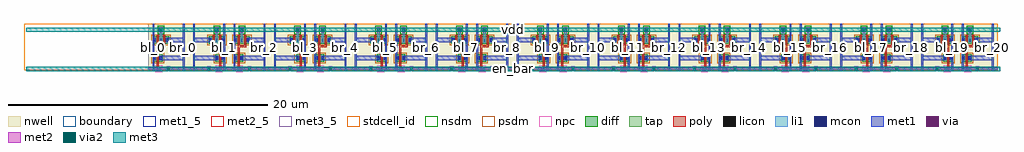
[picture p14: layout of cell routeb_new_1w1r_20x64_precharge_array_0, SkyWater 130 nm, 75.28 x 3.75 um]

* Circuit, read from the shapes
.subckt routeb_new_1w1r_20x64_precharge_array_0 bl_0 bl_1 bl_10 bl_11 bl_12 bl_13 bl_14 bl_15 bl_16 bl_17 bl_18 bl_19 bl_2 bl_20 bl_3 bl_4 bl_5 bl_6 bl_7 bl_8 bl_9 br_0 br_1 br_10 br_11 br_12 br_13 br_14 br_15 br_16 br_17 br_18 br_19 br_2 br_20 br_3 br_4 br_5 br_6 br_7 br_8 br_9 en_bar vdd
XM1 br_0 en_bar bl_0 vdd sky130_fd_pr__pfet_01v8 w=0.55 l=0.15
XM2 vdd en_bar bl_0 vdd sky130_fd_pr__pfet_01v8 w=0.55 l=0.15
XM3 br_0 en_bar vdd vdd sky130_fd_pr__pfet_01v8 w=0.55 l=0.15
XM4 vdd en_bar br_1 vdd sky130_fd_pr__pfet_01v8 w=0.55 l=0.15
XM5 bl_1 en_bar br_1 vdd sky130_fd_pr__pfet_01v8 w=0.55 l=0.15
XM6 bl_1 en_bar vdd vdd sky130_fd_pr__pfet_01v8 w=0.55 l=0.15
XM7 br_2 en_bar bl_2 vdd sky130_fd_pr__pfet_01v8 w=0.55 l=0.15
XM8 vdd en_bar bl_2 vdd sky130_fd_pr__pfet_01v8 w=0.55 l=0.15
XM9 br_2 en_bar vdd vdd sky130_fd_pr__pfet_01v8 w=0.55 l=0.15
XM10 vdd en_bar br_3 vdd sky130_fd_pr__pfet_01v8 w=0.55 l=0.15
XM11 bl_3 en_bar br_3 vdd sky130_fd_pr__pfet_01v8 w=0.55 l=0.15
XM12 bl_3 en_bar vdd vdd sky130_fd_pr__pfet_01v8 w=0.55 l=0.15
XM13 br_4 en_bar bl_4 vdd sky130_fd_pr__pfet_01v8 w=0.55 l=0.15
XM14 vdd en_bar bl_4 vdd sky130_fd_pr__pfet_01v8 w=0.55 l=0.15
XM15 br_4 en_bar vdd vdd sky130_fd_pr__pfet_01v8 w=0.55 l=0.15
XM16 vdd en_bar br_5 vdd sky130_fd_pr__pfet_01v8 w=0.55 l=0.15
XM17 bl_5 en_bar br_5 vdd sky130_fd_pr__pfet_01v8 w=0.55 l=0.15
XM18 bl_5 en_bar vdd vdd sky130_fd_pr__pfet_01v8 w=0.55 l=0.15
XM19 br_6 en_bar bl_6 vdd sky130_fd_pr__pfet_01v8 w=0.55 l=0.15
XM20 vdd en_bar bl_6 vdd sky130_fd_pr__pfet_01v8 w=0.55 l=0.15
XM21 br_6 en_bar vdd vdd sky130_fd_pr__pfet_01v8 w=0.55 l=0.15
XM22 vdd en_bar br_7 vdd sky130_fd_pr__pfet_01v8 w=0.55 l=0.15
XM23 bl_7 en_bar br_7 vdd sky130_fd_pr__pfet_01v8 w=0.55 l=0.15
XM24 bl_7 en_bar vdd vdd sky130_fd_pr__pfet_01v8 w=0.55 l=0.15
XM25 br_8 en_bar bl_8 vdd sky130_fd_pr__pfet_01v8 w=0.55 l=0.15
XM26 vdd en_bar bl_8 vdd sky130_fd_pr__pfet_01v8 w=0.55 l=0.15
XM27 br_8 en_bar vdd vdd sky130_fd_pr__pfet_01v8 w=0.55 l=0.15
XM28 vdd en_bar br_9 vdd sky130_fd_pr__pfet_01v8 w=0.55 l=0.15
XM29 bl_9 en_bar br_9 vdd sky130_fd_pr__pfet_01v8 w=0.55 l=0.15
XM30 bl_9 en_bar vdd vdd sky130_fd_pr__pfet_01v8 w=0.55 l=0.15
XM31 br_10 en_bar bl_10 vdd sky130_fd_pr__pfet_01v8 w=0.55 l=0.15
XM32 vdd en_bar bl_10 vdd sky130_fd_pr__pfet_01v8 w=0.55 l=0.15
XM33 br_10 en_bar vdd vdd sky130_fd_pr__pfet_01v8 w=0.55 l=0.15
XM34 vdd en_bar br_11 vdd sky130_fd_pr__pfet_01v8 w=0.55 l=0.15
XM35 bl_11 en_bar br_11 vdd sky130_fd_pr__pfet_01v8 w=0.55 l=0.15
XM36 bl_11 en_bar vdd vdd sky130_fd_pr__pfet_01v8 w=0.55 l=0.15
XM37 br_12 en_bar bl_12 vdd sky130_fd_pr__pfet_01v8 w=0.55 l=0.15
XM38 vdd en_bar bl_12 vdd sky130_fd_pr__pfet_01v8 w=0.55 l=0.15
XM39 br_12 en_bar vdd vdd sky130_fd_pr__pfet_01v8 w=0.55 l=0.15
XM40 vdd en_bar br_13 vdd sky130_fd_pr__pfet_01v8 w=0.55 l=0.15
XM41 bl_13 en_bar br_13 vdd sky130_fd_pr__pfet_01v8 w=0.55 l=0.15
XM42 bl_13 en_bar vdd vdd sky130_fd_pr__pfet_01v8 w=0.55 l=0.15
XM43 br_14 en_bar bl_14 vdd sky130_fd_pr__pfet_01v8 w=0.55 l=0.15
XM44 vdd en_bar bl_14 vdd sky130_fd_pr__pfet_01v8 w=0.55 l=0.15
XM45 br_14 en_bar vdd vdd sky130_fd_pr__pfet_01v8 w=0.55 l=0.15
XM46 vdd en_bar br_15 vdd sky130_fd_pr__pfet_01v8 w=0.55 l=0.15
XM47 bl_15 en_bar br_15 vdd sky130_fd_pr__pfet_01v8 w=0.55 l=0.15
XM48 bl_15 en_bar vdd vdd sky130_fd_pr__pfet_01v8 w=0.55 l=0.15
XM49 br_16 en_bar bl_16 vdd sky130_fd_pr__pfet_01v8 w=0.55 l=0.15
XM50 vdd en_bar bl_16 vdd sky130_fd_pr__pfet_01v8 w=0.55 l=0.15
XM51 br_16 en_bar vdd vdd sky130_fd_pr__pfet_01v8 w=0.55 l=0.15
XM52 vdd en_bar br_17 vdd sky130_fd_pr__pfet_01v8 w=0.55 l=0.15
XM53 bl_17 en_bar br_17 vdd sky130_fd_pr__pfet_01v8 w=0.55 l=0.15
XM54 bl_17 en_bar vdd vdd sky130_fd_pr__pfet_01v8 w=0.55 l=0.15
XM55 br_18 en_bar bl_18 vdd sky130_fd_pr__pfet_01v8 w=0.55 l=0.15
XM56 vdd en_bar bl_18 vdd sky130_fd_pr__pfet_01v8 w=0.55 l=0.15
XM57 br_18 en_bar vdd vdd sky130_fd_pr__pfet_01v8 w=0.55 l=0.15
XM58 vdd en_bar br_19 vdd sky130_fd_pr__pfet_01v8 w=0.55 l=0.15
XM59 bl_19 en_bar br_19 vdd sky130_fd_pr__pfet_01v8 w=0.55 l=0.15
XM60 bl_19 en_bar vdd vdd sky130_fd_pr__pfet_01v8 w=0.55 l=0.15
XM61 br_20 en_bar bl_20 vdd sky130_fd_pr__pfet_01v8 w=0.55 l=0.15
XM62 vdd en_bar bl_20 vdd sky130_fd_pr__pfet_01v8 w=0.55 l=0.15
XM63 br_20 en_bar vdd vdd sky130_fd_pr__pfet_01v8 w=0.55 l=0.15
.ends

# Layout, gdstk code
from math import pi, radians
import gdstk
lib = gdstk.Library(unit=1e-6, precision=1e-09)
def R(c, l, rs):  # rectangles x0, y0, x1, y1
    for r in rs: c.add(gdstk.rectangle(r[:2], r[2:], *l))
def A(c, l, x, y, w, h, nx, ny, dx, dy):  # array of equal rectangles
    R(c, l, [(x+i*dx, y+j*dy, x+i*dx+w, y+j*dy+h) for i in range(nx) for j in range(ny)])
nwell = (64, 20)
diff = (65, 20)
tap = (65, 44)
poly = (66, 20)
licon = (66, 44)
li1 = (67, 20)
mcon = (67, 44)
met1_5 = (68, 5)
met1 = (68, 20)
via = (68, 44)
met2_5 = (69, 5)
met2 = (69, 20)
via2 = (69, 44)
met3_5 = (70, 5)
met3 = (70, 20)
stdcell_id = (81, 4)
nsdm = (93, 44)
psdm = (94, 20)
npc = (95, 20)
boundary = (235, 4)

routeb_new_1w1r_20x64_co = lib.new_cell('routeb_new_1w1r_20x64_contact_11')
R(routeb_new_1w1r_20x64_co, nwell, [(-0.295,-0.255,0.545,0.585)])
R(routeb_new_1w1r_20x64_co, diff, [(0,0.02,0.25,0.31)])
R(routeb_new_1w1r_20x64_co, licon, [(0.04,0.08,0.21,0.25)])
R(routeb_new_1w1r_20x64_co, li1, [(0.04,0,0.21,0.33)])
R(routeb_new_1w1r_20x64_co, stdcell_id, [(-0.295,-0.255,0.545,0.585)])
R(routeb_new_1w1r_20x64_co, psdm, [(-0.125,-0.105,0.375,0.435)])
R(routeb_new_1w1r_20x64_co, boundary, [(-0.295,-0.255,0.545,0.585)])

routeb_new_1w1r_20x64_pm = lib.new_cell('routeb_new_1w1r_20x64_pmos_m1_w0_550_sli_dli')
R(routeb_new_1w1r_20x64_pm, nwell, [(-0.27,-0.27,1.02,0.82)])
R(routeb_new_1w1r_20x64_pm, diff, [(0,0,0.75,0.55)])
R(routeb_new_1w1r_20x64_pm, poly, [(0.3,-0.13,0.45,0.68), (0.3,-0.13,0.45,0.68)])
R(routeb_new_1w1r_20x64_pm, li1, [(0.04,0.11,0.21,0.44), (0.54,0.11,0.71,0.44)])
R(routeb_new_1w1r_20x64_pm, stdcell_id, [(-0.27,-0.27,1.02,0.82)])
R(routeb_new_1w1r_20x64_pm, psdm, [(-0.125,-0.125,0.875,0.675)])
R(routeb_new_1w1r_20x64_pm, boundary, [(-0.27,-0.27,1.02,0.82)])
routeb_new_1w1r_20x64_pm.add(gdstk.Reference(routeb_new_1w1r_20x64_co, (0,0.11)))
routeb_new_1w1r_20x64_pm.add(gdstk.Reference(routeb_new_1w1r_20x64_co, (0.5,0.11)))
routeb_new_1w1r_20x64_pm.add(gdstk.Label('G', (0.375,0.275), layer=66, texttype=5))
routeb_new_1w1r_20x64_pm.add(gdstk.Label('S', (0.125,0.275), layer=67, texttype=5))
routeb_new_1w1r_20x64_pm.add(gdstk.Label('D', (0.625,0.275), layer=67, texttype=5))

c_routeb_new_1w1r_20x64_co = lib.new_cell('routeb_new_1w1r_20x64_contact_15')
R(c_routeb_new_1w1r_20x64_co, poly, [(0,0,0.33,0.33)])
R(c_routeb_new_1w1r_20x64_co, licon, [(0.08,0.08,0.25,0.25)])
R(c_routeb_new_1w1r_20x64_co, li1, [(0.08,0,0.25,0.33)])
R(c_routeb_new_1w1r_20x64_co, stdcell_id, [(-0.1,-0.1,0.43,0.43)])
R(c_routeb_new_1w1r_20x64_co, npc, [(-0.1,-0.1,0.43,0.43)])
R(c_routeb_new_1w1r_20x64_co, boundary, [(-0.1,-0.1,0.43,0.43)])

c_routeb_new_1w1r_20x64_co_ = lib.new_cell('routeb_new_1w1r_20x64_contact_13')
R(c_routeb_new_1w1r_20x64_co_, li1, [(0.06,0,0.23,0.33)])
R(c_routeb_new_1w1r_20x64_co_, mcon, [(0.06,0.08,0.23,0.25)])
R(c_routeb_new_1w1r_20x64_co_, met1, [(0,0.05,0.29,0.28)])
R(c_routeb_new_1w1r_20x64_co_, stdcell_id, [(0,0,0.29,0.33)])
R(c_routeb_new_1w1r_20x64_co_, boundary, [(0,0,0.29,0.33)])

c_routeb_new_1w1r_20x64_co__ = lib.new_cell('routeb_new_1w1r_20x64_contact_18')
R(c_routeb_new_1w1r_20x64_co__, met1, [(0,0.03,0.32,0.29)])
R(c_routeb_new_1w1r_20x64_co__, via, [(0.085,0.085,0.235,0.235)])
R(c_routeb_new_1w1r_20x64_co__, met2, [(0.03,0,0.29,0.32)])
R(c_routeb_new_1w1r_20x64_co__, stdcell_id, [(0,0,0.32,0.32)])
R(c_routeb_new_1w1r_20x64_co__, boundary, [(0,0,0.32,0.32)])

c_routeb_new_1w1r_20x64_co___ = lib.new_cell('routeb_new_1w1r_20x64_contact_12')
R(c_routeb_new_1w1r_20x64_co___, nwell, [(-0.295,-0.215,0.545,0.625)])
R(c_routeb_new_1w1r_20x64_co___, tap, [(0,0,0.25,0.41)])
R(c_routeb_new_1w1r_20x64_co___, licon, [(0.04,0.12,0.21,0.29)])
R(c_routeb_new_1w1r_20x64_co___, li1, [(0.04,0.04,0.21,0.37)])
R(c_routeb_new_1w1r_20x64_co___, stdcell_id, [(-0.295,-0.215,0.545,0.625)])
R(c_routeb_new_1w1r_20x64_co___, nsdm, [(-0.125,-0.125,0.375,0.535)])
R(c_routeb_new_1w1r_20x64_co___, boundary, [(-0.295,-0.215,0.545,0.625)])

c_routeb_new_1w1r_20x64_co____ = lib.new_cell('routeb_new_1w1r_20x64_contact_23')
R(c_routeb_new_1w1r_20x64_co____, li1, [(0.03,0,0.2,0.33)])
R(c_routeb_new_1w1r_20x64_co____, mcon, [(0.03,0.08,0.2,0.25)])
R(c_routeb_new_1w1r_20x64_co____, met1, [(0,0.02,0.23,0.31)])
R(c_routeb_new_1w1r_20x64_co____, stdcell_id, [(0,0,0.23,0.33)])
R(c_routeb_new_1w1r_20x64_co____, boundary, [(0,0,0.23,0.33)])

routeb_new_1w1r_20x64_pr = lib.new_cell('routeb_new_1w1r_20x64_precharge_1')
R(routeb_new_1w1r_20x64_pr, nwell, [(0,0,3.12,3.61)])
R(routeb_new_1w1r_20x64_pr, poly, [(0.64,0.05,0.79,0.2), (0.715,0.05,0.79,0.2), (0.64,0.125,0.79,0.56), (0.64,1.37,0.79,1.95), (0.64,1.8,1.29,1.95)])
R(routeb_new_1w1r_20x64_pr, li1, [(0.88,2.355,1.05,3.14), (0.88,3.055,1.05,3.225)])
R(routeb_new_1w1r_20x64_pr, met1_5, [(0.33,0,0.47,3.61), (2.65,0,2.79,3.61)])
R(routeb_new_1w1r_20x64_pr, met1, [(0.63,-0.005,0.95,0.255), (0.33,0,0.47,3.61), (0.33,0,0.47,3.61), (2.65,0,2.79,3.61), (2.65,0,2.79,3.61), (0.4,0.8,0.465,1.13), (0.965,0.8,2.72,1.13), (0.4,2.19,0.465,2.52), (1.465,2.19,2.72,2.52)])
R(routeb_new_1w1r_20x64_pr, met2_5, [(0,0.055,3.12,0.195)])
R(routeb_new_1w1r_20x64_pr, met2, [(0,0.055,3.12,0.195)])
R(routeb_new_1w1r_20x64_pr, stdcell_id, [(0,0,3.12,3.61)])
R(routeb_new_1w1r_20x64_pr, boundary, [(0,0,3.12,3.61)])
routeb_new_1w1r_20x64_pr.add(gdstk.Reference(routeb_new_1w1r_20x64_pm, (0.34,0.69)))
routeb_new_1w1r_20x64_pr.add(gdstk.Reference(routeb_new_1w1r_20x64_pm, (0.34,2.08)))
routeb_new_1w1r_20x64_pr.add(gdstk.Reference(routeb_new_1w1r_20x64_pm, (0.84,2.08)))
routeb_new_1w1r_20x64_pr.add(gdstk.Reference(c_routeb_new_1w1r_20x64_co, (0.625,-0.04)))
routeb_new_1w1r_20x64_pr.add(gdstk.Reference(c_routeb_new_1w1r_20x64_co_, (0.645,-0.04)))
routeb_new_1w1r_20x64_pr.add(gdstk.Reference(c_routeb_new_1w1r_20x64_co__, (0.63,-0.035)))
routeb_new_1w1r_20x64_pr.add(gdstk.Reference(c_routeb_new_1w1r_20x64_co___, (0.84,2.935)))
routeb_new_1w1r_20x64_pr.add(gdstk.Reference(c_routeb_new_1w1r_20x64_co_, (0.82,2.975)))
routeb_new_1w1r_20x64_pr.add(gdstk.Reference(c_routeb_new_1w1r_20x64_co____, (0.35,0.8)))
routeb_new_1w1r_20x64_pr.add(gdstk.Reference(c_routeb_new_1w1r_20x64_co____, (0.85,0.8)))
routeb_new_1w1r_20x64_pr.add(gdstk.Reference(c_routeb_new_1w1r_20x64_co____, (0.35,2.19)))
routeb_new_1w1r_20x64_pr.add(gdstk.Reference(c_routeb_new_1w1r_20x64_co____, (1.35,2.19)))
routeb_new_1w1r_20x64_pr.add(gdstk.Label('en_bar', (1.56,0.125), layer=69, texttype=5))
routeb_new_1w1r_20x64_pr.add(gdstk.Label('vdd', (0.965,3.14), layer=67, texttype=5))
routeb_new_1w1r_20x64_pr.add(gdstk.Label('bl', (0.4,1.805), layer=68, texttype=5))
routeb_new_1w1r_20x64_pr.add(gdstk.Label('br', (2.72,1.805), layer=68, texttype=5))

c_routeb_new_1w1r_20x64_co_____ = lib.new_cell('routeb_new_1w1r_20x64_contact_21')
R(c_routeb_new_1w1r_20x64_co_____, met2, [(0.025,0,0.305,0.37)])
R(c_routeb_new_1w1r_20x64_co_____, via2, [(0.065,0.085,0.265,0.285)])
R(c_routeb_new_1w1r_20x64_co_____, met3, [(0,0.02,0.33,0.35)])
R(c_routeb_new_1w1r_20x64_co_____, stdcell_id, [(0,0,0.33,0.37)])
R(c_routeb_new_1w1r_20x64_co_____, boundary, [(0,0,0.33,0.37)])

c_routeb_new_1w1r_20x64_pr = lib.new_cell('routeb_new_1w1r_20x64_precharge_array_0')
R(c_routeb_new_1w1r_20x64_pr, met1_5, [(9.925,0,10.065,3.61), (12.245,0,12.385,3.61), (13.045,0,13.185,3.61), (15.365,0,15.505,3.61), (16.165,0,16.305,3.61), (18.485,0,18.625,3.61), (19.285,0,19.425,3.61), (21.605,0,21.745,3.61), (22.405,0,22.545,3.61), (24.725,0,24.865,3.61), (25.525,0,25.665,3.61), (27.845,0,27.985,3.61), (28.645,0,28.785,3.61), (30.965,0,31.105,3.61), (31.765,0,31.905,3.61), (34.085,0,34.225,3.61), (34.885,0,35.025,3.61), (37.205,0,37.345,3.61), (38.005,0,38.145,3.61), (40.325,0,40.465,3.61), (41.125,0,41.265,3.61), (43.445,0,43.585,3.61), (44.245,0,44.385,3.61), (46.565,0,46.705,3.61), (47.365,0,47.505,3.61), (49.685,0,49.825,3.61), (50.485,0,50.625,3.61), (52.805,0,52.945,3.61), (53.605,0,53.745,3.61), (55.925,0,56.065,3.61), (56.725,0,56.865,3.61), (59.045,0,59.185,3.61), (59.845,0,59.985,3.61), (62.165,0,62.305,3.61), (62.965,0,63.105,3.61), (65.285,0,65.425,3.61), (66.085,0,66.225,3.61), (68.405,0,68.545,3.61), (69.205,0,69.345,3.61), (71.525,0,71.665,3.61), (72.325,0,72.465,3.61), (74.645,0,74.785,3.61)])
R(c_routeb_new_1w1r_20x64_pr, met1, [(9.925,0,10.065,3.61), (12.245,0,12.385,3.61), (13.045,0,13.185,3.61), (15.365,0,15.505,3.61), (16.165,0,16.305,3.61), (18.485,0,18.625,3.61), (19.285,0,19.425,3.61), (21.605,0,21.745,3.61), (22.405,0,22.545,3.61), (24.725,0,24.865,3.61), (25.525,0,25.665,3.61), (27.845,0,27.985,3.61), (28.645,0,28.785,3.61), (30.965,0,31.105,3.61), (31.765,0,31.905,3.61), (34.085,0,34.225,3.61), (34.885,0,35.025,3.61), (37.205,0,37.345,3.61), (38.005,0,38.145,3.61), (40.325,0,40.465,3.61), (41.125,0,41.265,3.61), (43.445,0,43.585,3.61), (44.245,0,44.385,3.61), (46.565,0,46.705,3.61), (47.365,0,47.505,3.61), (49.685,0,49.825,3.61), (50.485,0,50.625,3.61), (52.805,0,52.945,3.61), (53.605,0,53.745,3.61), (55.925,0,56.065,3.61), (56.725,0,56.865,3.61), (59.045,0,59.185,3.61), (59.845,0,59.985,3.61), (62.165,0,62.305,3.61), (62.965,0,63.105,3.61), (65.285,0,65.425,3.61), (66.085,0,66.225,3.61), (68.405,0,68.545,3.61), (69.205,0,69.345,3.61), (71.525,0,71.665,3.61), (72.325,0,72.465,3.61), (74.645,0,74.785,3.61), (10.4,3.01,10.72,3.27), (14.71,3.01,15.03,3.27), (16.64,3.01,16.96,3.27), (20.95,3.01,21.27,3.27), (22.88,3.01,23.2,3.27), (27.19,3.01,27.51,3.27), (29.12,3.01,29.44,3.27), (33.43,3.01,33.75,3.27), (35.36,3.01,35.68,3.27), (39.67,3.01,39.99,3.27), (41.6,3.01,41.92,3.27), (45.91,3.01,46.23,3.27), (47.84,3.01,48.16,3.27), (52.15,3.01,52.47,3.27), (54.08,3.01,54.4,3.27), (58.39,3.01,58.71,3.27), (60.32,3.01,60.64,3.27), (64.63,3.01,64.95,3.27), (66.56,3.01,66.88,3.27), (70.87,3.01,71.19,3.27), (72.8,3.01,73.12,3.27)])
A(c_routeb_new_1w1r_20x64_pr, met2, 11.015, 0, 0.28, 0.245, 21, 1, 3.12, 0)
R(c_routeb_new_1w1r_20x64_pr, met2, [(10.42,3.02,10.7,3.265), (14.73,3.02,15.01,3.265), (16.66,3.02,16.94,3.265), (20.97,3.02,21.25,3.265), (22.9,3.02,23.18,3.265), (27.21,3.02,27.49,3.265), (29.14,3.02,29.42,3.265), (33.45,3.02,33.73,3.265), (35.38,3.02,35.66,3.265), (39.69,3.02,39.97,3.265), (41.62,3.02,41.9,3.265), (45.93,3.02,46.21,3.265), (47.86,3.02,48.14,3.265), (52.17,3.02,52.45,3.265), (54.1,3.02,54.38,3.265), (58.41,3.02,58.69,3.265), (60.34,3.02,60.62,3.265), (64.65,3.02,64.93,3.265), (66.58,3.02,66.86,3.265), (70.89,3.02,71.17,3.265), (72.82,3.02,73.1,3.265)])
R(c_routeb_new_1w1r_20x64_pr, met3_5, [(0.165,-0.04,75.28,0.29), (0.165,2.975,75.28,3.305)])
R(c_routeb_new_1w1r_20x64_pr, met3, [(0.165,-0.04,75.28,0.29), (0.165,2.975,75.28,3.305)])
R(c_routeb_new_1w1r_20x64_pr, stdcell_id, [(0,0,75.115,3.61)])
R(c_routeb_new_1w1r_20x64_pr, boundary, [(0,0,75.115,3.61)])
c_routeb_new_1w1r_20x64_pr.add(gdstk.Reference(routeb_new_1w1r_20x64_pr, (9.595,0)))
c_routeb_new_1w1r_20x64_pr.add(gdstk.Reference(routeb_new_1w1r_20x64_pr, (15.835,0), rotation=pi, x_reflection=True))
c_routeb_new_1w1r_20x64_pr.add(gdstk.Reference(routeb_new_1w1r_20x64_pr, (15.835,0)))
c_routeb_new_1w1r_20x64_pr.add(gdstk.Reference(routeb_new_1w1r_20x64_pr, (22.075,0), rotation=pi, x_reflection=True))
c_routeb_new_1w1r_20x64_pr.add(gdstk.Reference(routeb_new_1w1r_20x64_pr, (22.075,0)))
c_routeb_new_1w1r_20x64_pr.add(gdstk.Reference(routeb_new_1w1r_20x64_pr, (28.315,0), rotation=pi, x_reflection=True))
c_routeb_new_1w1r_20x64_pr.add(gdstk.Reference(routeb_new_1w1r_20x64_pr, (28.315,0)))
c_routeb_new_1w1r_20x64_pr.add(gdstk.Reference(routeb_new_1w1r_20x64_pr, (34.555,0), rotation=pi, x_reflection=True))
c_routeb_new_1w1r_20x64_pr.add(gdstk.Reference(routeb_new_1w1r_20x64_pr, (34.555,0)))
c_routeb_new_1w1r_20x64_pr.add(gdstk.Reference(routeb_new_1w1r_20x64_pr, (40.795,0), rotation=pi, x_reflection=True))
c_routeb_new_1w1r_20x64_pr.add(gdstk.Reference(routeb_new_1w1r_20x64_pr, (40.795,0)))
c_routeb_new_1w1r_20x64_pr.add(gdstk.Reference(routeb_new_1w1r_20x64_pr, (47.035,0), rotation=pi, x_reflection=True))
c_routeb_new_1w1r_20x64_pr.add(gdstk.Reference(routeb_new_1w1r_20x64_pr, (47.035,0)))
c_routeb_new_1w1r_20x64_pr.add(gdstk.Reference(routeb_new_1w1r_20x64_pr, (53.275,0), rotation=pi, x_reflection=True))
c_routeb_new_1w1r_20x64_pr.add(gdstk.Reference(routeb_new_1w1r_20x64_pr, (53.275,0)))
c_routeb_new_1w1r_20x64_pr.add(gdstk.Reference(routeb_new_1w1r_20x64_pr, (59.515,0), rotation=pi, x_reflection=True))
c_routeb_new_1w1r_20x64_pr.add(gdstk.Reference(routeb_new_1w1r_20x64_pr, (59.515,0)))
c_routeb_new_1w1r_20x64_pr.add(gdstk.Reference(routeb_new_1w1r_20x64_pr, (65.755,0), rotation=pi, x_reflection=True))
c_routeb_new_1w1r_20x64_pr.add(gdstk.Reference(routeb_new_1w1r_20x64_pr, (65.755,0)))
c_routeb_new_1w1r_20x64_pr.add(gdstk.Reference(routeb_new_1w1r_20x64_pr, (71.995,0), rotation=pi, x_reflection=True))
c_routeb_new_1w1r_20x64_pr.add(gdstk.Reference(routeb_new_1w1r_20x64_pr, (71.995,0)))
c_routeb_new_1w1r_20x64_pr.add(gdstk.Reference(c_routeb_new_1w1r_20x64_co_____, (10.99,-0.06)))
c_routeb_new_1w1r_20x64_pr.add(gdstk.Reference(c_routeb_new_1w1r_20x64_co_____, (14.11,-0.06)))
c_routeb_new_1w1r_20x64_pr.add(gdstk.Reference(c_routeb_new_1w1r_20x64_co_____, (17.23,-0.06)))
c_routeb_new_1w1r_20x64_pr.add(gdstk.Reference(c_routeb_new_1w1r_20x64_co_____, (20.35,-0.06)))
c_routeb_new_1w1r_20x64_pr.add(gdstk.Reference(c_routeb_new_1w1r_20x64_co_____, (23.47,-0.06)))
c_routeb_new_1w1r_20x64_pr.add(gdstk.Reference(c_routeb_new_1w1r_20x64_co_____, (26.59,-0.06)))
c_routeb_new_1w1r_20x64_pr.add(gdstk.Reference(c_routeb_new_1w1r_20x64_co_____, (29.71,-0.06)))
c_routeb_new_1w1r_20x64_pr.add(gdstk.Reference(c_routeb_new_1w1r_20x64_co_____, (32.83,-0.06)))
c_routeb_new_1w1r_20x64_pr.add(gdstk.Reference(c_routeb_new_1w1r_20x64_co_____, (35.95,-0.06)))
c_routeb_new_1w1r_20x64_pr.add(gdstk.Reference(c_routeb_new_1w1r_20x64_co_____, (39.07,-0.06)))
c_routeb_new_1w1r_20x64_pr.add(gdstk.Reference(c_routeb_new_1w1r_20x64_co_____, (42.19,-0.06)))
c_routeb_new_1w1r_20x64_pr.add(gdstk.Reference(c_routeb_new_1w1r_20x64_co_____, (45.31,-0.06)))
c_routeb_new_1w1r_20x64_pr.add(gdstk.Reference(c_routeb_new_1w1r_20x64_co_____, (48.43,-0.06)))
c_routeb_new_1w1r_20x64_pr.add(gdstk.Reference(c_routeb_new_1w1r_20x64_co_____, (51.55,-0.06)))
c_routeb_new_1w1r_20x64_pr.add(gdstk.Reference(c_routeb_new_1w1r_20x64_co_____, (54.67,-0.06)))
c_routeb_new_1w1r_20x64_pr.add(gdstk.Reference(c_routeb_new_1w1r_20x64_co_____, (57.79,-0.06)))
c_routeb_new_1w1r_20x64_pr.add(gdstk.Reference(c_routeb_new_1w1r_20x64_co_____, (60.91,-0.06)))
c_routeb_new_1w1r_20x64_pr.add(gdstk.Reference(c_routeb_new_1w1r_20x64_co_____, (64.03,-0.06)))
c_routeb_new_1w1r_20x64_pr.add(gdstk.Reference(c_routeb_new_1w1r_20x64_co_____, (67.15,-0.06)))
c_routeb_new_1w1r_20x64_pr.add(gdstk.Reference(c_routeb_new_1w1r_20x64_co_____, (70.27,-0.06)))
c_routeb_new_1w1r_20x64_pr.add(gdstk.Reference(c_routeb_new_1w1r_20x64_co_____, (73.39,-0.06)))
c_routeb_new_1w1r_20x64_pr.add(gdstk.Reference(c_routeb_new_1w1r_20x64_co_____, (10.99,-0.06)))
c_routeb_new_1w1r_20x64_pr.add(gdstk.Reference(c_routeb_new_1w1r_20x64_co_____, (14.11,-0.06)))
c_routeb_new_1w1r_20x64_pr.add(gdstk.Reference(c_routeb_new_1w1r_20x64_co_____, (17.23,-0.06)))
c_routeb_new_1w1r_20x64_pr.add(gdstk.Reference(c_routeb_new_1w1r_20x64_co_____, (20.35,-0.06)))
c_routeb_new_1w1r_20x64_pr.add(gdstk.Reference(c_routeb_new_1w1r_20x64_co_____, (23.47,-0.06)))
c_routeb_new_1w1r_20x64_pr.add(gdstk.Reference(c_routeb_new_1w1r_20x64_co_____, (26.59,-0.06)))
c_routeb_new_1w1r_20x64_pr.add(gdstk.Reference(c_routeb_new_1w1r_20x64_co_____, (29.71,-0.06)))
c_routeb_new_1w1r_20x64_pr.add(gdstk.Reference(c_routeb_new_1w1r_20x64_co_____, (32.83,-0.06)))
c_routeb_new_1w1r_20x64_pr.add(gdstk.Reference(c_routeb_new_1w1r_20x64_co_____, (35.95,-0.06)))
c_routeb_new_1w1r_20x64_pr.add(gdstk.Reference(c_routeb_new_1w1r_20x64_co_____, (39.07,-0.06)))
c_routeb_new_1w1r_20x64_pr.add(gdstk.Reference(c_routeb_new_1w1r_20x64_co_____, (42.19,-0.06)))
c_routeb_new_1w1r_20x64_pr.add(gdstk.Reference(c_routeb_new_1w1r_20x64_co_____, (45.31,-0.06)))
c_routeb_new_1w1r_20x64_pr.add(gdstk.Reference(c_routeb_new_1w1r_20x64_co_____, (48.43,-0.06)))
c_routeb_new_1w1r_20x64_pr.add(gdstk.Reference(c_routeb_new_1w1r_20x64_co_____, (51.55,-0.06)))
c_routeb_new_1w1r_20x64_pr.add(gdstk.Reference(c_routeb_new_1w1r_20x64_co_____, (54.67,-0.06)))
c_routeb_new_1w1r_20x64_pr.add(gdstk.Reference(c_routeb_new_1w1r_20x64_co_____, (57.79,-0.06)))
c_routeb_new_1w1r_20x64_pr.add(gdstk.Reference(c_routeb_new_1w1r_20x64_co_____, (60.91,-0.06)))
c_routeb_new_1w1r_20x64_pr.add(gdstk.Reference(c_routeb_new_1w1r_20x64_co_____, (64.03,-0.06)))
c_routeb_new_1w1r_20x64_pr.add(gdstk.Reference(c_routeb_new_1w1r_20x64_co_____, (67.15,-0.06)))
c_routeb_new_1w1r_20x64_pr.add(gdstk.Reference(c_routeb_new_1w1r_20x64_co_____, (70.27,-0.06)))
c_routeb_new_1w1r_20x64_pr.add(gdstk.Reference(c_routeb_new_1w1r_20x64_co_____, (73.39,-0.06)))
c_routeb_new_1w1r_20x64_pr.add(gdstk.Reference(c_routeb_new_1w1r_20x64_co_, (10.415,2.975)))
c_routeb_new_1w1r_20x64_pr.add(gdstk.Reference(c_routeb_new_1w1r_20x64_co__, (10.4,2.98)))
c_routeb_new_1w1r_20x64_pr.add(gdstk.Reference(c_routeb_new_1w1r_20x64_co_____, (10.395,2.955)))
c_routeb_new_1w1r_20x64_pr.add(gdstk.Reference(c_routeb_new_1w1r_20x64_co_, (14.725,2.975)))
c_routeb_new_1w1r_20x64_pr.add(gdstk.Reference(c_routeb_new_1w1r_20x64_co__, (14.71,2.98)))
c_routeb_new_1w1r_20x64_pr.add(gdstk.Reference(c_routeb_new_1w1r_20x64_co_____, (14.705,2.955)))
c_routeb_new_1w1r_20x64_pr.add(gdstk.Reference(c_routeb_new_1w1r_20x64_co_, (16.655,2.975)))
c_routeb_new_1w1r_20x64_pr.add(gdstk.Reference(c_routeb_new_1w1r_20x64_co__, (16.64,2.98)))
c_routeb_new_1w1r_20x64_pr.add(gdstk.Reference(c_routeb_new_1w1r_20x64_co_____, (16.635,2.955)))
c_routeb_new_1w1r_20x64_pr.add(gdstk.Reference(c_routeb_new_1w1r_20x64_co_, (20.965,2.975)))
c_routeb_new_1w1r_20x64_pr.add(gdstk.Reference(c_routeb_new_1w1r_20x64_co__, (20.95,2.98)))
c_routeb_new_1w1r_20x64_pr.add(gdstk.Reference(c_routeb_new_1w1r_20x64_co_____, (20.945,2.955)))
c_routeb_new_1w1r_20x64_pr.add(gdstk.Reference(c_routeb_new_1w1r_20x64_co_, (22.895,2.975)))
c_routeb_new_1w1r_20x64_pr.add(gdstk.Reference(c_routeb_new_1w1r_20x64_co__, (22.88,2.98)))
c_routeb_new_1w1r_20x64_pr.add(gdstk.Reference(c_routeb_new_1w1r_20x64_co_____, (22.875,2.955)))
c_routeb_new_1w1r_20x64_pr.add(gdstk.Reference(c_routeb_new_1w1r_20x64_co_, (27.205,2.975)))
c_routeb_new_1w1r_20x64_pr.add(gdstk.Reference(c_routeb_new_1w1r_20x64_co__, (27.19,2.98)))
c_routeb_new_1w1r_20x64_pr.add(gdstk.Reference(c_routeb_new_1w1r_20x64_co_____, (27.185,2.955)))
c_routeb_new_1w1r_20x64_pr.add(gdstk.Reference(c_routeb_new_1w1r_20x64_co_, (29.135,2.975)))
c_routeb_new_1w1r_20x64_pr.add(gdstk.Reference(c_routeb_new_1w1r_20x64_co__, (29.12,2.98)))
c_routeb_new_1w1r_20x64_pr.add(gdstk.Reference(c_routeb_new_1w1r_20x64_co_____, (29.115,2.955)))
c_routeb_new_1w1r_20x64_pr.add(gdstk.Reference(c_routeb_new_1w1r_20x64_co_, (33.445,2.975)))
c_routeb_new_1w1r_20x64_pr.add(gdstk.Reference(c_routeb_new_1w1r_20x64_co__, (33.43,2.98)))
c_routeb_new_1w1r_20x64_pr.add(gdstk.Reference(c_routeb_new_1w1r_20x64_co_____, (33.425,2.955)))
c_routeb_new_1w1r_20x64_pr.add(gdstk.Reference(c_routeb_new_1w1r_20x64_co_, (35.375,2.975)))
c_routeb_new_1w1r_20x64_pr.add(gdstk.Reference(c_routeb_new_1w1r_20x64_co__, (35.36,2.98)))
c_routeb_new_1w1r_20x64_pr.add(gdstk.Reference(c_routeb_new_1w1r_20x64_co_____, (35.355,2.955)))
c_routeb_new_1w1r_20x64_pr.add(gdstk.Reference(c_routeb_new_1w1r_20x64_co_, (39.685,2.975)))
c_routeb_new_1w1r_20x64_pr.add(gdstk.Reference(c_routeb_new_1w1r_20x64_co__, (39.67,2.98)))
c_routeb_new_1w1r_20x64_pr.add(gdstk.Reference(c_routeb_new_1w1r_20x64_co_____, (39.665,2.955)))
c_routeb_new_1w1r_20x64_pr.add(gdstk.Reference(c_routeb_new_1w1r_20x64_co_, (41.615,2.975)))
c_routeb_new_1w1r_20x64_pr.add(gdstk.Reference(c_routeb_new_1w1r_20x64_co__, (41.6,2.98)))
c_routeb_new_1w1r_20x64_pr.add(gdstk.Reference(c_routeb_new_1w1r_20x64_co_____, (41.595,2.955)))
c_routeb_new_1w1r_20x64_pr.add(gdstk.Reference(c_routeb_new_1w1r_20x64_co_, (45.925,2.975)))
c_routeb_new_1w1r_20x64_pr.add(gdstk.Reference(c_routeb_new_1w1r_20x64_co__, (45.91,2.98)))
c_routeb_new_1w1r_20x64_pr.add(gdstk.Reference(c_routeb_new_1w1r_20x64_co_____, (45.905,2.955)))
c_routeb_new_1w1r_20x64_pr.add(gdstk.Reference(c_routeb_new_1w1r_20x64_co_, (47.855,2.975)))
c_routeb_new_1w1r_20x64_pr.add(gdstk.Reference(c_routeb_new_1w1r_20x64_co__, (47.84,2.98)))
c_routeb_new_1w1r_20x64_pr.add(gdstk.Reference(c_routeb_new_1w1r_20x64_co_____, (47.835,2.955)))
c_routeb_new_1w1r_20x64_pr.add(gdstk.Reference(c_routeb_new_1w1r_20x64_co_, (52.165,2.975)))
c_routeb_new_1w1r_20x64_pr.add(gdstk.Reference(c_routeb_new_1w1r_20x64_co__, (52.15,2.98)))
c_routeb_new_1w1r_20x64_pr.add(gdstk.Reference(c_routeb_new_1w1r_20x64_co_____, (52.145,2.955)))
c_routeb_new_1w1r_20x64_pr.add(gdstk.Reference(c_routeb_new_1w1r_20x64_co_, (54.095,2.975)))
c_routeb_new_1w1r_20x64_pr.add(gdstk.Reference(c_routeb_new_1w1r_20x64_co__, (54.08,2.98)))
c_routeb_new_1w1r_20x64_pr.add(gdstk.Reference(c_routeb_new_1w1r_20x64_co_____, (54.075,2.955)))
c_routeb_new_1w1r_20x64_pr.add(gdstk.Reference(c_routeb_new_1w1r_20x64_co_, (58.405,2.975)))
c_routeb_new_1w1r_20x64_pr.add(gdstk.Reference(c_routeb_new_1w1r_20x64_co__, (58.39,2.98)))
c_routeb_new_1w1r_20x64_pr.add(gdstk.Reference(c_routeb_new_1w1r_20x64_co_____, (58.385,2.955)))
c_routeb_new_1w1r_20x64_pr.add(gdstk.Reference(c_routeb_new_1w1r_20x64_co_, (60.335,2.975)))
c_routeb_new_1w1r_20x64_pr.add(gdstk.Reference(c_routeb_new_1w1r_20x64_co__, (60.32,2.98)))
c_routeb_new_1w1r_20x64_pr.add(gdstk.Reference(c_routeb_new_1w1r_20x64_co_____, (60.315,2.955)))
c_routeb_new_1w1r_20x64_pr.add(gdstk.Reference(c_routeb_new_1w1r_20x64_co_, (64.645,2.975)))
c_routeb_new_1w1r_20x64_pr.add(gdstk.Reference(c_routeb_new_1w1r_20x64_co__, (64.63,2.98)))
c_routeb_new_1w1r_20x64_pr.add(gdstk.Reference(c_routeb_new_1w1r_20x64_co_____, (64.625,2.955)))
c_routeb_new_1w1r_20x64_pr.add(gdstk.Reference(c_routeb_new_1w1r_20x64_co_, (66.575,2.975)))
c_routeb_new_1w1r_20x64_pr.add(gdstk.Reference(c_routeb_new_1w1r_20x64_co__, (66.56,2.98)))
c_routeb_new_1w1r_20x64_pr.add(gdstk.Reference(c_routeb_new_1w1r_20x64_co_____, (66.555,2.955)))
c_routeb_new_1w1r_20x64_pr.add(gdstk.Reference(c_routeb_new_1w1r_20x64_co_, (70.885,2.975)))
c_routeb_new_1w1r_20x64_pr.add(gdstk.Reference(c_routeb_new_1w1r_20x64_co__, (70.87,2.98)))
c_routeb_new_1w1r_20x64_pr.add(gdstk.Reference(c_routeb_new_1w1r_20x64_co_____, (70.865,2.955)))
c_routeb_new_1w1r_20x64_pr.add(gdstk.Reference(c_routeb_new_1w1r_20x64_co_, (72.815,2.975)))
c_routeb_new_1w1r_20x64_pr.add(gdstk.Reference(c_routeb_new_1w1r_20x64_co__, (72.8,2.98)))
c_routeb_new_1w1r_20x64_pr.add(gdstk.Reference(c_routeb_new_1w1r_20x64_co_____, (72.795,2.955)))
c_routeb_new_1w1r_20x64_pr.add(gdstk.Label('en_bar', (37.723,0.125), layer=70, texttype=5))
c_routeb_new_1w1r_20x64_pr.add(gdstk.Label('bl_0', (9.995,1.805), layer=68, texttype=5))
c_routeb_new_1w1r_20x64_pr.add(gdstk.Label('br_0', (12.315,1.805), layer=68, texttype=5))
c_routeb_new_1w1r_20x64_pr.add(gdstk.Label('bl_1', (15.435,1.805), layer=68, texttype=5))
c_routeb_new_1w1r_20x64_pr.add(gdstk.Label('br_1', (13.115,1.805), layer=68, texttype=5))
c_routeb_new_1w1r_20x64_pr.add(gdstk.Label('bl_2', (16.235,1.805), layer=68, texttype=5))
c_routeb_new_1w1r_20x64_pr.add(gdstk.Label('br_2', (18.555,1.805), layer=68, texttype=5))
c_routeb_new_1w1r_20x64_pr.add(gdstk.Label('bl_3', (21.675,1.805), layer=68, texttype=5))
c_routeb_new_1w1r_20x64_pr.add(gdstk.Label('br_3', (19.355,1.805), layer=68, texttype=5))
c_routeb_new_1w1r_20x64_pr.add(gdstk.Label('bl_4', (22.475,1.805), layer=68, texttype=5))
c_routeb_new_1w1r_20x64_pr.add(gdstk.Label('br_4', (24.795,1.805), layer=68, texttype=5))
c_routeb_new_1w1r_20x64_pr.add(gdstk.Label('bl_5', (27.915,1.805), layer=68, texttype=5))
c_routeb_new_1w1r_20x64_pr.add(gdstk.Label('br_5', (25.595,1.805), layer=68, texttype=5))
c_routeb_new_1w1r_20x64_pr.add(gdstk.Label('bl_6', (28.715,1.805), layer=68, texttype=5))
c_routeb_new_1w1r_20x64_pr.add(gdstk.Label('br_6', (31.035,1.805), layer=68, texttype=5))
c_routeb_new_1w1r_20x64_pr.add(gdstk.Label('bl_7', (34.155,1.805), layer=68, texttype=5))
c_routeb_new_1w1r_20x64_pr.add(gdstk.Label('br_7', (31.835,1.805), layer=68, texttype=5))
c_routeb_new_1w1r_20x64_pr.add(gdstk.Label('bl_8', (34.955,1.805), layer=68, texttype=5))
c_routeb_new_1w1r_20x64_pr.add(gdstk.Label('br_8', (37.275,1.805), layer=68, texttype=5))
c_routeb_new_1w1r_20x64_pr.add(gdstk.Label('bl_9', (40.395,1.805), layer=68, texttype=5))
c_routeb_new_1w1r_20x64_pr.add(gdstk.Label('br_9', (38.075,1.805), layer=68, texttype=5))
c_routeb_new_1w1r_20x64_pr.add(gdstk.Label('bl_10', (41.195,1.805), layer=68, texttype=5))
c_routeb_new_1w1r_20x64_pr.add(gdstk.Label('br_10', (43.515,1.805), layer=68, texttype=5))
c_routeb_new_1w1r_20x64_pr.add(gdstk.Label('bl_11', (46.635,1.805), layer=68, texttype=5))
c_routeb_new_1w1r_20x64_pr.add(gdstk.Label('br_11', (44.315,1.805), layer=68, texttype=5))
c_routeb_new_1w1r_20x64_pr.add(gdstk.Label('bl_12', (47.435,1.805), layer=68, texttype=5))
c_routeb_new_1w1r_20x64_pr.add(gdstk.Label('br_12', (49.755,1.805), layer=68, texttype=5))
c_routeb_new_1w1r_20x64_pr.add(gdstk.Label('bl_13', (52.875,1.805), layer=68, texttype=5))
c_routeb_new_1w1r_20x64_pr.add(gdstk.Label('br_13', (50.555,1.805), layer=68, texttype=5))
c_routeb_new_1w1r_20x64_pr.add(gdstk.Label('bl_14', (53.675,1.805), layer=68, texttype=5))
c_routeb_new_1w1r_20x64_pr.add(gdstk.Label('br_14', (55.995,1.805), layer=68, texttype=5))
c_routeb_new_1w1r_20x64_pr.add(gdstk.Label('bl_15', (59.115,1.805), layer=68, texttype=5))
c_routeb_new_1w1r_20x64_pr.add(gdstk.Label('br_15', (56.795,1.805), layer=68, texttype=5))
c_routeb_new_1w1r_20x64_pr.add(gdstk.Label('bl_16', (59.915,1.805), layer=68, texttype=5))
c_routeb_new_1w1r_20x64_pr.add(gdstk.Label('br_16', (62.235,1.805), layer=68, texttype=5))
c_routeb_new_1w1r_20x64_pr.add(gdstk.Label('bl_17', (65.355,1.805), layer=68, texttype=5))
c_routeb_new_1w1r_20x64_pr.add(gdstk.Label('br_17', (63.035,1.805), layer=68, texttype=5))
c_routeb_new_1w1r_20x64_pr.add(gdstk.Label('bl_18', (66.155,1.805), layer=68, texttype=5))
c_routeb_new_1w1r_20x64_pr.add(gdstk.Label('br_18', (68.475,1.805), layer=68, texttype=5))
c_routeb_new_1w1r_20x64_pr.add(gdstk.Label('bl_19', (71.595,1.805), layer=68, texttype=5))
c_routeb_new_1w1r_20x64_pr.add(gdstk.Label('br_19', (69.275,1.805), layer=68, texttype=5))
c_routeb_new_1w1r_20x64_pr.add(gdstk.Label('bl_20', (72.395,1.805), layer=68, texttype=5))
c_routeb_new_1w1r_20x64_pr.add(gdstk.Label('br_20', (74.715,1.805), layer=68, texttype=5))
c_routeb_new_1w1r_20x64_pr.add(gdstk.Label('vdd', (37.723,3.14), layer=70, texttype=5))

lib.write_gds('routeb_new_1w1r_20x64_precharge_array_0.gds')
